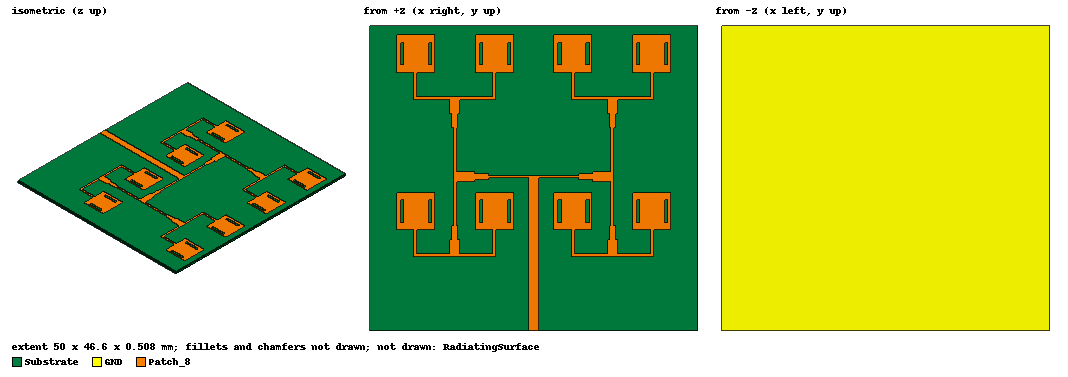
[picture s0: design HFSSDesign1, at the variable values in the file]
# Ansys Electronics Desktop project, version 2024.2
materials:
  vacuum: permittivity=1
  Rogers RT/duroid 5880 (tm): permittivity=2.2 dielectric_loss_tangent=0.0009

design HFSSDesign1 (HFSS, HFSS Terminal Network, model units mm)
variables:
  Lg = 11.67mm
  Wg = 24.61mm
  Hs = 0.508mm
  Ls = 11.67mm
  Ws = 24.61mm
  Wf = 1.565mm
  Lf = 2.2mm
  Lp = 5.647mm
  Wp = (6.97-1.2) mm
  SL = 1mm
  WL = -3.5mm
  dL = 0.75mm
  Xrhs = -14.5075mm
  Xlhs = (-21.4775+0.6) mm
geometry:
  50ohm = rectangle(corner=(11.67mm/2 - 2.2mm, -1.565mm/2, 0.508mm), x_size=2.2mm, y_size=1.565mm)
  100ohm_1 = rectangle(corner=(11.67mm/2 - Lf - 0.455mm, -11.545mm/2, 0.508mm), x_size=0.455mm, y_size=11.545mm)
  Feedline_1 = rectangle(corner=(3.635mm, -0.455mm-11.545mm/2, 0.508mm), x_size=-4.135mm, y_size=0.455mm)
  Feedline_2 = rectangle(corner=(3.635mm, 11.545mm/2, 0.508mm), x_size=-4.135mm, y_size=0.455mm)
  [50ohm, 100ohm_1, Feedline_1, Feedline_2].rotate(axis=Z, angle=270deg)
  70ohm = rectangle(corner=((0-0.9/2) mm, -5.835mm, 0.508mm), x_size=0.9mm, y_size=-2.14mm)
  100ohm_3 = rectangle(corner=((0-0.455/2) mm, -7.975mm, 0.508mm), x_size=0.455mm, y_size=-14.9mm)
  70ohm1 = rectangle(corner=((0-0.9/2) mm, (-5.835-10.9-2.14) mm, 0.508mm), x_size=0.9mm, y_size=-2.14mm)
  50ohm_2 = rectangle(corner=(11.67mm/2 + 2.2mm + 2.14mm + 10.9mm, -1.565mm/2, 0.508mm), x_size=2.2mm, y_size=1.565mm)
  50ohm_2.rotate(axis=Z, angle=270deg)
  50ohm_2.move(0mm, 0.06mm, 0mm)
  100ohm_2 = rectangle(corner=(11.67mm/2 - Lf - 0.455mm, -11.545mm/2, 0.508mm), x_size=0.455mm, y_size=11.545mm)
  100ohm_2.rotate(axis=Z, angle=270deg)
  100ohm_2.move(0mm, -20.065mm, -0.008mm)
  100ohm_2.move(0mm, 0.03mm, 0.008mm)
  Feedline_3 = rectangle(corner=(3.635mm, -0.455mm-11.545mm/2, 0.508mm), x_size=-4.135mm, y_size=0.455mm)
  Feedline_3.rotate(axis=Z, angle=270deg)
  Feedline_4 = rectangle(corner=(3.635mm, 11.545mm/2, 0.508mm), x_size=-4.135mm, y_size=0.455mm)
  Feedline_4.rotate(axis=Z, angle=270deg)
  [Feedline_3, Feedline_4].move(-0.1725mm, -19.965mm, 0.092mm)
  [Feedline_3, Feedline_4].move(0.1725mm, -0.07mm, -0.092mm)
  [50ohm, 100ohm_1, Feedline_1, Feedline_2, 70ohm, 100ohm_3, 70ohm1, 50ohm_2, 100ohm_2, Feedline_3, Feedline_4].move(-0.2275mm, 13.425mm, -0.508mm)
  50ohm_H1 = rectangle(corner=(0mm, (0+1.565/2) mm, 0mm), x_size=2.8mm, y_size=-1.565mm)
  70ohm_H1 = rectangle(corner=((0+2.8) mm, (0+0.9/2) mm, 0mm), x_size=2.14mm, y_size=-0.9mm)
  100ohm_H = rectangle(corner=(4.94mm, (0+0.455/2) mm, 0mm), x_size=13.65mm, y_size=-0.455mm)
  70ohm_H2 = rectangle(corner=((0+2.8) mm, (0+0.9/2) mm, 0mm), x_size=2.14mm, y_size=-0.9mm)
  70ohm_H2.move(15.86mm, 0.0275mm, 0mm)
  70ohm_H2.move(-0.07mm, -0.0275mm, 0mm)
  50ohm_H2 = rectangle(corner=(0mm, (0+1.565/2) mm, 0mm), x_size=2.8mm, y_size=-1.565mm)
  50ohm_H2.move(20.8mm, -0.05mm, 0mm)
  50ohm_H2.move(-0.07mm, 0.05mm, 0mm)
  [50ohm, 100ohm_1, Feedline_1, Feedline_2, 70ohm, 100ohm_3, 70ohm1, 50ohm_2, 100ohm_2, Feedline_3, Feedline_4, 50ohm_H1, 70ohm_H1, 100ohm_H, 70ohm_H2, 50ohm_H2].move(-11.765mm, 0.2275mm, 0mm)
  50ohm_Main = rectangle(corner=((0-1.565/2) mm, 0mm, 0mm), x_size=1.565mm, y_size=-23.3mm)
  Substrate [Rogers RT/duroid 5880 (tm)] = box(corner=(-25mm, -23.3mm, 0mm), size=(50mm, (23.3*2) mm, -0.508mm))
  P1 = rectangle(corner=(-0.7825mm, -23.3mm, 0mm), z_size=-0.508mm, x_size=1.565mm)
  RadiatingSurface [vacuum] = region(absolute_offset=3.8461538mm on all sides)
  [100ohm_2, 50ohm_2, 70ohm1, Feedline_3, Feedline_4].move(0mm, -4mm, 0mm)
  50ohm_3 = 50ohm.duplicate_along_line(step=(24mm, 0mm, 0mm), total=2)
  50ohm.delete()
  100ohm_1_1 = 100ohm_1.duplicate_along_line(step=(24mm, 0mm, 0mm), total=2)
  100ohm_2_1 = 100ohm_2.duplicate_along_line(step=(24mm, 0mm, 0mm), total=2)
  100ohm_3_1 = 100ohm_3.duplicate_along_line(step=(24mm, 0mm, 0mm), total=2)
  70ohm_1 = 70ohm.duplicate_along_line(step=(24mm, 0mm, 0mm), total=2)
  70ohm1_1 = 70ohm1.duplicate_along_line(step=(24mm, 0mm, 0mm), total=2)
  50ohm_4 = 50ohm_2.duplicate_along_line(step=(24mm, 0mm, 0mm), total=2)
  Feedline_1_1 = Feedline_1.duplicate_along_line(step=(24mm, 0mm, 0mm), total=2)
  Feedline_2_1 = Feedline_2.duplicate_along_line(step=(24mm, 0mm, 0mm), total=2)
  Feedline_3_1 = Feedline_3.duplicate_along_line(step=(24mm, 0mm, 0mm), total=2)
  Feedline_4_1 = Feedline_4.duplicate_along_line(step=(24mm, 0mm, 0mm), total=2)
  50ohm_1 = rectangle(corner=(-11.9925mm, 10.0175mm, 0mm), x_size=1.565mm, y_size=2.2mm)
  50ohm_1.move(-0.7825mm, -2.2mm, 0mm)
  GND = rectangle(corner=(-25mm, -23.3mm, -0.508mm), x_size=50mm, y_size=46.6mm)
  [100ohm_1_1, 100ohm_2_1, 100ohm_3_1, 50ohm_3, 50ohm_4, 70ohm_1, 70ohm1_1, Feedline_1_1, Feedline_2_1, Feedline_3_1, Feedline_4_1].move(-0.015mm, 2mm, 0mm)
  [100ohm_3, 100ohm_1, 100ohm_2, 50ohm_1, 50ohm_2, 70ohm, 70ohm1, Feedline_1..Feedline_4].move(0mm, 2mm, 0mm)
  Patch_1 = rectangle(corner=(Xlhs, 21.7995mm, 0mm), x_size=Wp, y_size=-5.647mm)
  Slot_1 = rectangle(corner=(Xlhs+0.6275mm, (20.6-0.9475+2.147/2) mm, 0mm), x_size=0.5mm, y_size=-3.5mm)
  Slot_2 = rectangle(corner=((-14.5075-1.4775) mm, (20.6-0.9475+2.147/2) mm, 0mm), x_size=0.5mm, y_size=-3.5mm)
  Patch_1.chamfer(Vertices=Patch_8.vertex(at (-14.5075, 21.7995, 0), at (-21.4775, 16.1525, 0)) LeftDistance=dL RightDistance=dL ChamferType=Symmetric)
  Patch_2 = rectangle(corner=(Xlhs, 21.7995mm, 0mm), x_size=Wp, y_size=-5.647mm)
  Patch_2.chamfer(Vertices=Patch_8.vertex(2 of 4, 4 of 4) LeftDistance=dL RightDistance=dL ChamferType=Symmetric)
  Slot_3 = rectangle(corner=(Xlhs+0.6275mm, (20.6-0.9475+2.147/2) mm, 0mm), x_size=0.5mm, y_size=-3.5mm)
  Slot_4 = rectangle(corner=((-14.5075-1.4775) mm, (20.6-0.9475+2.147/2) mm, 0mm), x_size=0.5mm, y_size=-3.5mm)
  [Patch_2, Slot_3, Slot_4].move(12mm, -3.5527137e-15mm, 0mm)
  Patch_3 = rectangle(corner=(Xlhs, 21.7995mm, 0mm), x_size=Wp, y_size=-5.647mm)
  Patch_3.chamfer(Vertices=Patch_8.vertex(2 of 4, 4 of 4) LeftDistance=dL RightDistance=dL ChamferType=Symmetric)
  Slot_5 = rectangle(corner=(Xlhs+0.6275mm, (20.6-0.9475+2.147/2) mm, 0mm), x_size=0.5mm, y_size=-3.5mm)
  Slot_6 = rectangle(corner=((-14.5075-1.4775) mm, (20.6-0.9475+2.147/2) mm, 0mm), x_size=0.5mm, y_size=-3.5mm)
  [Patch_3, Slot_5, Slot_6].move(23.985mm, 0mm, 0mm)
  Patch_4 = rectangle(corner=(Xlhs, 21.7995mm, 0mm), x_size=Wp, y_size=-5.647mm)
  Patch_4.chamfer(Vertices=Patch_8.vertex(2 of 4, 4 of 4) LeftDistance=dL RightDistance=dL ChamferType=Symmetric)
  Slot_7 = rectangle(corner=(Xlhs+0.6275mm, (20.6-0.9475+2.147/2) mm, 0mm), x_size=0.5mm, y_size=-3.5mm)
  Slot_8 = rectangle(corner=((-14.5075-1.4775) mm, (20.6-0.9475+2.147/2) mm, 0mm), x_size=0.5mm, y_size=-3.5mm)
  [Patch_4, Slot_7, Slot_8].move(35.985mm, -3.5527137e-15mm, 0mm)
  Patch_5 = rectangle(corner=(Xlhs, 21.7995mm, 0mm), x_size=Wp, y_size=-5.647mm)
  Patch_5.chamfer(Vertices=Patch_8.vertex(2 of 4, 4 of 4) LeftDistance=dL RightDistance=dL ChamferType=Symmetric)
  Slot_9 = rectangle(corner=(Xlhs+0.6275mm, (20.6-0.9475+2.147/2) mm, 0mm), x_size=0.5mm, y_size=-3.5mm)
  Slot_10 = rectangle(corner=((-14.5075-1.4775) mm, (20.6-0.9475+2.147/2) mm, 0mm), x_size=0.5mm, y_size=-3.5mm)
  [Patch_5, Slot_9, Slot_10].move(-3.5527137e-15mm, -24.035mm, 0mm)
  Patch_6 = rectangle(corner=(Xlhs, 21.7995mm, 0mm), x_size=Wp, y_size=-5.647mm)
  Patch_6.chamfer(Vertices=Patch_8.vertex(2 of 4, 4 of 4) LeftDistance=dL RightDistance=dL ChamferType=Symmetric)
  Slot_11 = rectangle(corner=(Xlhs+0.6275mm, (20.6-0.9475+2.147/2) mm, 0mm), x_size=0.5mm, y_size=-3.5mm)
  Slot_12 = rectangle(corner=((-14.5075-1.4775) mm, (20.6-0.9475+2.147/2) mm, 0mm), x_size=0.5mm, y_size=-3.5mm)
  [Patch_6, Slot_11, Slot_12].move(12mm, -24.035mm, 0mm)
  Patch_7 = rectangle(corner=(Xlhs, 21.7995mm, 0mm), x_size=Wp, y_size=-5.647mm)
  Patch_7.chamfer(Vertices=Patch_8.vertex(2 of 4, 4 of 4) LeftDistance=dL RightDistance=dL ChamferType=Symmetric)
  Slot_13 = rectangle(corner=(Xlhs+0.6275mm, (20.6-0.9475+2.147/2) mm, 0mm), x_size=0.5mm, y_size=-3.5mm)
  Slot_14 = rectangle(corner=((-14.5075-1.4775) mm, (20.6-0.9475+2.147/2) mm, 0mm), x_size=0.5mm, y_size=-3.5mm)
  [Patch_7, Slot_13, Slot_14].move(23.985mm, -24.035mm, 0mm)
  Patch_8 = rectangle(corner=(Xlhs, 21.7995mm, 0mm), x_size=Wp, y_size=-5.647mm)
  Patch_8.chamfer(Vertices=Patch_8.vertex(2 of 4, 4 of 4) LeftDistance=dL RightDistance=dL ChamferType=Symmetric)
  Slot_15 = rectangle(corner=(Xlhs+0.6275mm, (20.6-0.9475+2.147/2) mm, 0mm), x_size=0.5mm, y_size=-3.5mm)
  Slot_16 = rectangle(corner=((-14.5075-1.4775) mm, (20.6-0.9475+2.147/2) mm, 0mm), x_size=0.5mm, y_size=-3.5mm)
  [Patch_8, Slot_15, Slot_16].move(35.985mm, -24.035mm, 0mm)
  Patch_1.subtract(Slot_1, Slot_2)
  Patch_2.subtract(Slot_3, Slot_4)
  Patch_3.subtract(Slot_5, Slot_6)
  Patch_4.subtract(Slot_7, Slot_8)
  Patch_5.subtract(Slot_10, Slot_9)
  Patch_6.subtract(Slot_11, Slot_12)
  Patch_7.subtract(Slot_13, Slot_14)
  Patch_8.subtract(Slot_15, Slot_16)
  Patch_8.unite(Patch_1..Patch_7, 100ohm_1, 100ohm_1_1, 100ohm_2, 100ohm_2_1, 100ohm_3, 100ohm_3_1, 100ohm_H, 50ohm_1..50ohm_4, 50ohm_H1, 50ohm_H2, 50ohm_Main, 70ohm, 70ohm_1, 70ohm_H1, 70ohm_H2, 70ohm1, 70ohm1_1, Feedline_1, Feedline_1_1, Feedline_2, Feedline_2_1, Feedline_3, Feedline_3_1, Feedline_4, Feedline_4_1)
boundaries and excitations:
  Open1: Radiation Objects=RadiatingSurface
  PerfE1: Perfect E Objects=[GND, Patch_8]
  1: Lumped Port Objects=P1 LumpedPortType=Modal Modes{Mode1{IntLine{(0, -23.3, -0.508) -> (0, -23.3, 0)} CharImp=Zpi RenormImp=50ohm}} Impedance=50ohm
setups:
  Setup1: HfssDriven Frequency=17GHz MaxDeltaS=0.02 MaximumPasses=10 MinimumPasses=1 MinimumConvergedPasses=1 PercentRefinement=30 BasisOrder=1 PortAccuracy=2 DrivenSolverType="Direct Solver"
    sweep Sweep: 10GHz to 25GHz, 201 points; Type=Discrete SaveFields
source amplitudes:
  1:1: 1V 0deg
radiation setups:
  3D: Infinite Sphere Theta=0deg..180deg step 2deg Phi=-180deg..180deg step 2deg
  Elevation: Infinite Sphere Theta=-180deg..180deg step 1deg Phi=0deg..90deg step 90deg
  Azimuth: Infinite Sphere Theta=90deg..90deg step 0deg Phi=-180deg..180deg step 1deg
  Infinite Sphere1: Infinite Sphere Theta=0deg..360deg step 10deg Phi=-180deg..180deg step 10deg
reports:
  Terminal S Parameter Plot 1: dB(St(1,1)) vs Freq on Setup1 : Sweep; markers m1 at 16.825GHz, m2 at 16GHz, m3 at 22.225GHz, m4 at 16.15GHz, m5 at 16.3GHz, m6 at 16.075GHz, m7 at 16.375GHz, m8 at 16.675GHz, m9 at 16.6GHz
  Axial Ratio Plot 1: dB(AxialRatioValue) vs Freq on Setup1 : Sweep, Infinite Sphere1 [Phi=0deg Theta=0deg]; markers m1 at 12.475GHz, m2 at 20.2GHz, m3 at 17.05GHz, m4 at 13.075GHz
